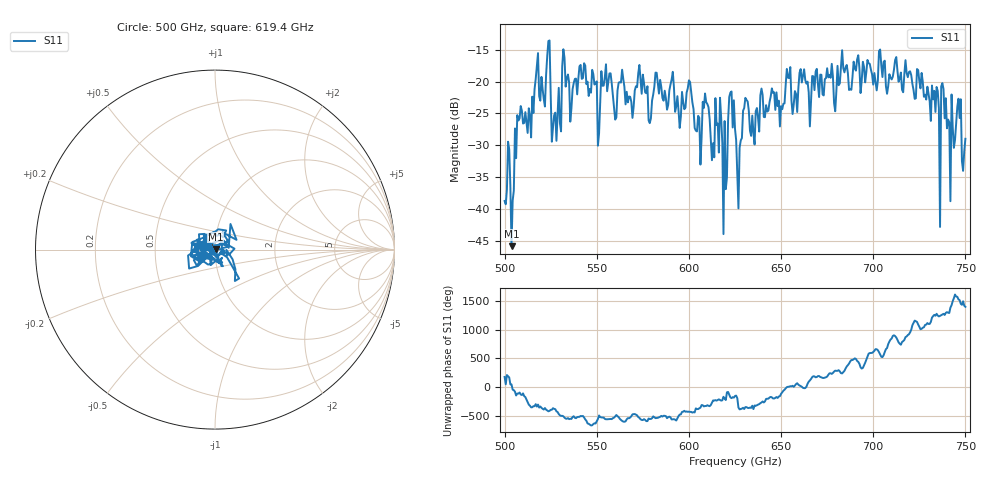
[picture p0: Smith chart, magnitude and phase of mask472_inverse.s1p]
!Created with skrf (http://scikit-rf.org).
# GHz S MA R 50.0
!freq magS11 angS11
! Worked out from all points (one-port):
!   401 points, 500 GHz to 750 GHz, reference 50 ohm
!   lowest |S11| = -45.7 dB at 503.8 GHz (marker M1), VSWR 1.01, Z = 50.3 + j0.385 ohm
!   |S11| at or under -10 dB: start of sweep to end of sweep
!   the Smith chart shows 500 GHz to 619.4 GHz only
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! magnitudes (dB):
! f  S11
! 500 GHz  -38.7
! 503.8 GHz  -45.7
! 508.1 GHz  -25.8
! 513.1 GHz  -24.2
! 517.5 GHz  -17.6
! 523.8 GHz  -13.7
! 526.9 GHz  -25.3
! 531.2 GHz  -17.6
! 562.5 GHz  -20.1
! 593.8 GHz  -22.3
! 600 GHz  -19.8
! 605.6 GHz  -25.7
! 609.4 GHz  -23.2
! 616.9 GHz  -22.5
! 619.4 GHz  -26.2
! 622.5 GHz  -21.7
! 625 GHz  -27.4
! 627.5 GHz  -30.4
! 630.6 GHz  -22.6
! 634.4 GHz  -25.3
! 656.2 GHz  -25.1
! 687.5 GHz  -21.2
! 718.8 GHz  -19.3
! 735 GHz  -21.5
! 738.1 GHz  -21.2
! 743.1 GHz  -27.2
! 746.2 GHz  -22.7
! 750 GHz  -29.0
